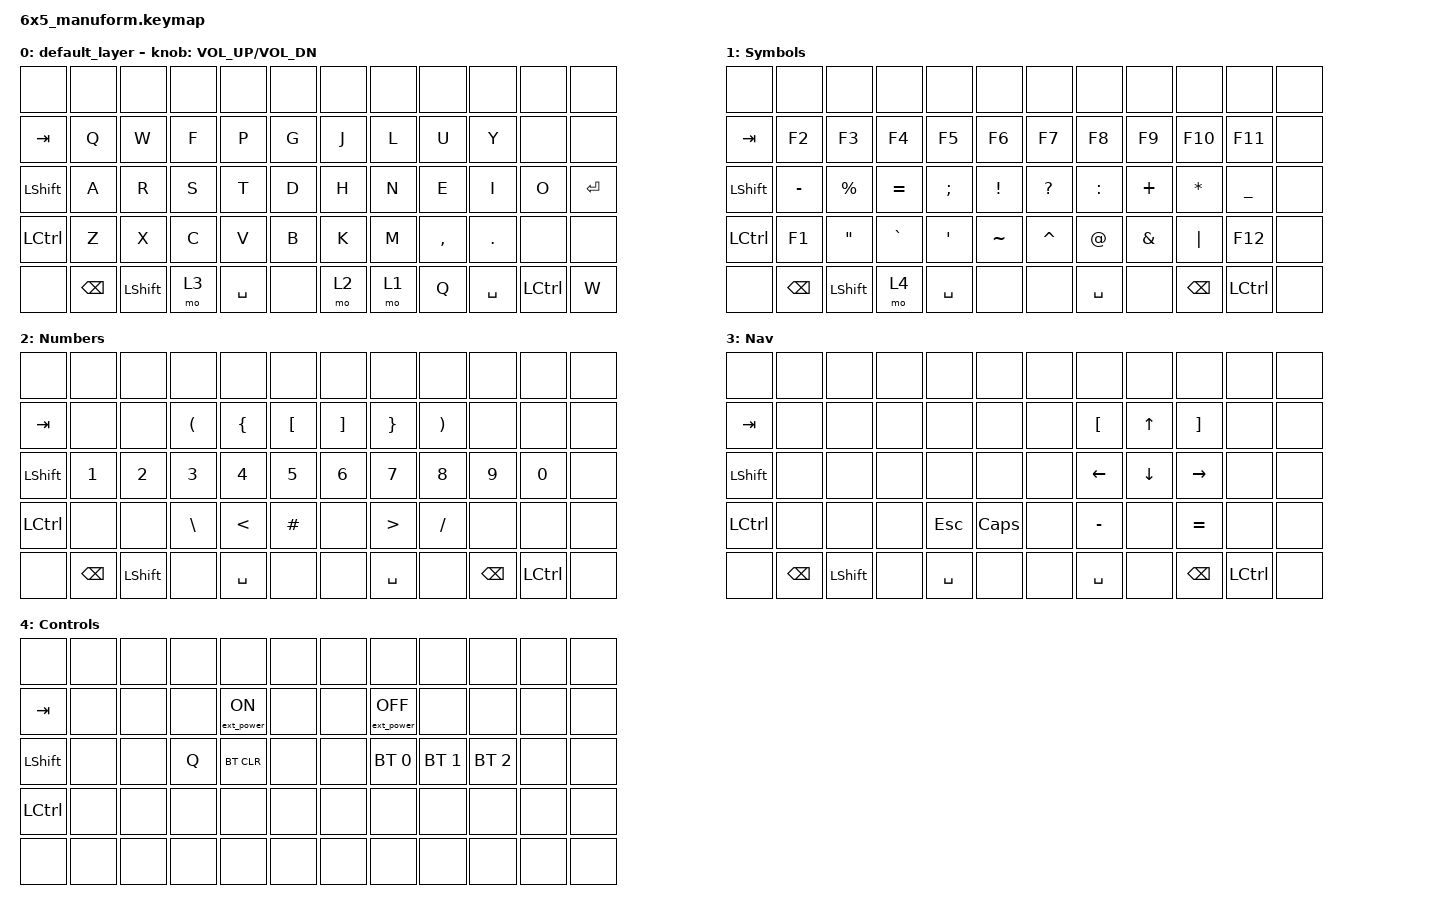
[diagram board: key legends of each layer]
/*
 * Copyright (c) 2020 The ZMK Contributors
 *
 * SPDX-License-Identifier: MIT
 */

#include <behaviors.dtsi>
#include <dt-bindings/zmk/bt.h>
#include <dt-bindings/zmk/ext_power.h>
#include <dt-bindings/zmk/keys.h>

/ {
    keymap {
        compatible = "zmk,keymap";

        default_layer {
            // ------------------------------------------------------------------------------------------------------------
            // |  ESC   |  1  |  2  |  3   |  4   |  5   |                    |  6   |  7    |  8    |  9   |   0   |   `   |
            // |  TAB   |  Q  |  W  |  E   |  R   |  T   |                    |  Y   |  U    |  I    |  O   |   P   |   -   |
            // |  CTRL  |  A  |  S  |  D   |  F   |  G   |                    |  H   |  J    |  K    |  L   |   ;   |   '   |
            // | SHIFT  |  Z  |  X  |  C   |  V   |  B   |                    |  N   |  M    |  ,    |  .   |   /   | SHIFT |
            // |    2   |  2  | f   | 6    | 4    | 1    |                    | 2    | 1     | w     | s    | n     |  a    |

            bindings = <
&none             &none          &none           &none  &none      &none  &none  &none  &none      &none      &none             &none
&kp TAB           &kp Q          &kp W           &kp F  &kp P      &kp G  &kp J  &kp L  &kp U      &kp Y      &none             &none
&kp LEFT_SHIFT    &kp A          &kp R           &kp S  &kp T      &kp D  &kp H  &kp N  &kp E      &kp I      &kp O             &kp ENTER
&kp LEFT_CONTROL  &kp Z          &kp X           &kp C  &kp V      &kp B  &kp K  &kp M  &kp COMMA  &kp DOT    &none             &none
&none             &kp BACKSPACE  &kp LEFT_SHIFT  &mo 3  &kp SPACE  &none  &mo 2  &mo 1  &kp Q      &kp SPACE  &kp LEFT_CONTROL  &kp W
            >;

            sensor-bindings = <&inc_dec_kp C_VOL_UP C_VOL_DN>;
        };

        Symbols {
            bindings = <
&none             &none          &none              &none      &none          &none            &none         &none        &none          &none          &none             &none
&kp TAB           &kp F2         &kp F3             &kp F4     &kp F5         &kp F6           &kp F7        &kp F8       &kp F9         &kp F10        &kp F11           &none
&kp LSHIFT        &kp MINUS      &kp PERCENT        &kp EQUAL  &kp SEMICOLON  &kp EXCLAMATION  &kp QUESTION  &kp COLON    &kp PLUS       &kp ASTERISK   &kp UNDERSCORE    &none
&kp LEFT_CONTROL  &kp F1         &kp DOUBLE_QUOTES  &kp GRAVE  &kp SQT        &kp TILDE        &kp CARET     &kp AT_SIGN  &kp AMPERSAND  &kp PIPE       &kp F12           &none
&none             &kp BACKSPACE  &kp LSHIFT         &mo 4      &kp SPACE      &none            &none         &kp SPACE    &none          &kp BACKSPACE  &kp LEFT_CONTROL  &none
            >;
        };

        Numbers {
            bindings = <
&none             &none          &none         &none                 &none           &none             &none              &none             &none                  &none          &none             &none
&kp TAB           &none          &none         &kp LEFT_PARENTHESIS  &kp LEFT_BRACE  &kp LEFT_BRACKET  &kp RIGHT_BRACKET  &kp RIGHT_BRACE   &kp RIGHT_PARENTHESIS  &none          &none             &none
&kp LEFT_SHIFT    &kp NUMBER_1   &kp NUMBER_2  &kp NUMBER_3          &kp NUMBER_4    &kp N5            &kp NUMBER_6       &kp N7            &kp N8                 &kp N9         &kp N0            &none
&kp LEFT_CONTROL  &none          &none         &kp BACKSLASH         &kp LESS_THAN   &kp HASH          &none              &kp GREATER_THAN  &kp SLASH              &none          &none             &none
&none             &kp BACKSPACE  &kp LSHIFT    &none                 &kp SPACE       &none             &none              &kp SPACE         &none                  &kp BACKSPACE  &kp LEFT_CONTROL  &none
            >;
        };

        Nav {
            bindings = <
&none             &none          &none       &none  &none       &none     &none  &none             &none     &none              &none             &none
&kp TAB           &none          &none       &none  &none       &none     &none  &kp LEFT_BRACKET  &kp UP    &kp RIGHT_BRACKET  &none             &none
&kp LEFT_SHIFT    &none          &none       &none  &none       &none     &none  &kp LEFT          &kp DOWN  &kp RIGHT_ARROW    &none             &none
&kp LEFT_CONTROL  &none          &none       &none  &kp ESCAPE  &kp CLCK  &none  &kp MINUS         &none     &kp EQUAL          &none             &none
&none             &kp BACKSPACE  &kp LSHIFT  &none  &kp SPACE   &none     &none  &kp SPACE         &none     &kp BACKSPACE      &kp LEFT_CONTROL  &none
            >;
        };

        Controls {
            bindings = <
&none             &none  &none  &none  &none             &none  &none  &none              &none         &none         &none  &none
&kp TAB           &none  &none  &none  &ext_power EP_ON  &none  &none  &ext_power EP_OFF  &none         &none         &none  &none
&kp LEFT_SHIFT    &none  &none  &kp Q  &bt BT_CLR        &none  &none  &bt BT_SEL 0       &bt BT_SEL 1  &bt BT_SEL 2  &none  &none
&kp LEFT_CONTROL  &none  &none  &none  &none             &none  &none  &none              &none         &none         &none  &none
&none             &none  &none  &none  &none             &none  &none  &none              &none         &none         &none  &none
            >;
        };
    };
};
